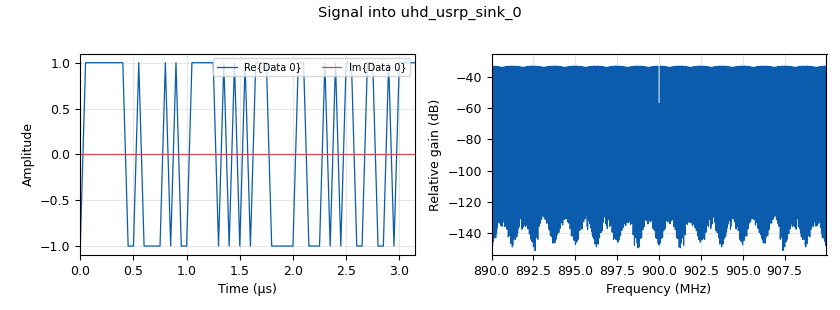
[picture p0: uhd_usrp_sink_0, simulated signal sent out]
<?xml version='1.0' encoding='utf-8'?>
<?grc format='1' created='3.7.11'?>
<flow_graph>
<block>
<key>options</key>
<param><key>id</key><value>top_block</value></param>
<param><key>category</key><value>Custom</value></param>
<param><key>generate_options</key><value>no_gui</value></param>
</block>
<block>
<key>variable</key>
<param><key>id</key><value>degree</value></param>
<param><key>value</key><value>8</value></param>
</block>
<block>
<key>variable_function_probe</key>
<param><key>id</key><value>gps_status</value></param>
<param><key>block_id</key><value>uhd_usrp_sink_0</value></param>
<param><key>_enabled</key><value>False</value></param>
<param><key>function_args</key><value>'"gps_locked"'</value></param>
<param><key>function_name</key><value>get_mboard_sensor</value></param>
<param><key>value</key><value>"not yet evalueated"</value></param>
<param><key>poll_rate</key><value>0.1</value></param>
</block>
<block>
<key>variable</key>
<param><key>id</key><value>printer</value></param>
<param><key>_enabled</key><value>False</value></param>
<param><key>value</key><value>sys.stdout.write(str(gps_status)+ '\n')</value></param>
</block>
<block>
<key>variable</key>
<param><key>id</key><value>samp_rate</value></param>
<param><key>value</key><value>100e6/5</value></param>
</block>
<block>
<key>blocks_float_to_complex</key>
<param><key>id</key><value>blocks_float_to_complex_0</value></param>
</block>
<block>
<key>blocks_null_source</key>
<param><key>id</key><value>blocks_null_source_0</value></param>
<param><key>bus_conns</key><value>[[0,],]</value></param>
<param><key>type</key><value>float</value></param>
</block>
<block>
<key>digital_glfsr_source_x</key>
<param><key>id</key><value>digital_glfsr_source_x_0</value></param>
<param><key>degree</key><value>degree</value></param>
<param><key>mask</key><value>0</value></param>
<param><key>repeat</key><value>True</value></param>
<param><key>seed</key><value>1</value></param>
<param><key>type</key><value>float</value></param>
</block>
<block>
<key>import</key>
<param><key>id</key><value>import_0</value></param>
<param><key>_enabled</key><value>False</value></param>
<param><key>import</key><value>import sys</value></param>
</block>
<block>
<key>uhd_usrp_sink</key>
<param><key>id</key><value>uhd_usrp_sink_0</value></param>
<param><key>ant0</key><value>TX/RX</value></param>
<param><key>center_freq0</key><value>900e6</value></param>
<param><key>norm_gain0</key><value>False</value></param>
<param><key>gain0</key><value>0</value></param>
<param><key>clock_rate</key><value>0.0</value></param>
<param><key>dev_addr</key><value>addr=192.168.10.4</value></param>
<param><key>dev_args</key><value>""</value></param>
<param><key>type</key><value>fc32</value></param>
<param><key>clock_source0</key><value>gpsdo</value></param>
<param><key>time_source0</key><value>gpsdo</value></param>
<param><key>samp_rate</key><value>samp_rate</value></param>
<param><key>hide_cmd_port</key><value>False</value></param>
<param><key>hide_lo_controls</key><value>True</value></param>
<param><key>sync</key><value></value></param>
<param><key>len_tag_name</key><value></value></param>
<param><key>otw</key><value>sc8</value></param>
</block>
<connection><source_block_id>blocks_float_to_complex_0</source_block_id><sink_block_id>uhd_usrp_sink_0</sink_block_id><source_key>0</source_key><sink_key>0</sink_key></connection>
<connection><source_block_id>blocks_null_source_0</source_block_id><sink_block_id>blocks_float_to_complex_0</sink_block_id><source_key>0</source_key><sink_key>1</sink_key></connection>
<connection><source_block_id>digital_glfsr_source_x_0</source_block_id><sink_block_id>blocks_float_to_complex_0</sink_block_id><source_key>0</source_key><sink_key>0</sink_key></connection>
</flow_graph>
